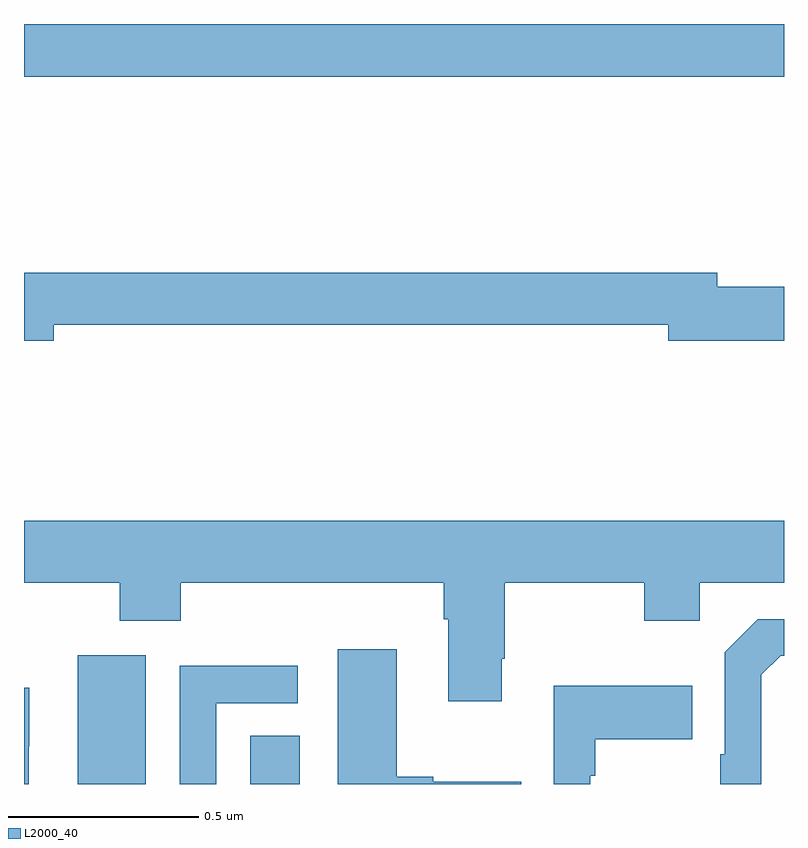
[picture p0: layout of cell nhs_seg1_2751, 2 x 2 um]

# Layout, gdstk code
import gdstk
lib = gdstk.Library(unit=1e-6, precision=1e-09)
def R(c, l, rs):  # rectangles x0, y0, x1, y1
    for r in rs: c.add(gdstk.rectangle(r[:2], r[2:], *l))
def P(c, l, *ps):  # polygons
    for p in ps: c.add(gdstk.Polygon(p, *l))
L2000_40 = (2000, 40)

nhs_seg1_2751 = lib.new_cell('nhs_seg1_2751')
R(nhs_seg1_2751, L2000_40, [(145.142,555.199,145.321,555.538), (145.595,555.199,145.726,555.326), (145,557.06,147,557.199)])
P(nhs_seg1_2751, L2000_40, [(145.078,556.408),(146.696,556.408),(146.696,556.366),(147,556.366),(147,556.508),(146.824,556.508),(146.824,556.544),(145,556.544),(145,556.366),(145.078,556.366)],
  [(146.257,555.529),(146.265,555.529),(146.265,555.728),(146.632,555.728),(146.632,555.629),(146.778,555.629),(146.778,555.728),(147,555.728),(147,555.892),(145,555.892),(145,555.728),(145.252,555.728),(145.252,555.629),(145.412,555.629),(145.412,555.728),(146.105,555.728),(146.105,555.632),(146.117,555.632),(146.117,555.417),(146.257,555.417)],
  [(146.94,555.486),(146.991,555.537),(147,555.537),(147,555.633),(146.931,555.633),(146.844,555.546),(146.844,555.277),(146.832,555.277),(146.832,555.199),(146.94,555.199)],
  [(146.308,555.205),(146.077,555.205),(146.077,555.218),(145.981,555.218),(145.981,555.553),(145.826,555.553),(145.826,555.199),(146.308,555.199)],
  [(145.506,555.411),(145.72,555.411),(145.72,555.51),(145.41,555.51),(145.41,555.199),(145.506,555.199)],
  [(146.49,555.221),(146.503,555.221),(146.503,555.317),(146.759,555.317),(146.759,555.457),(146.394,555.457),(146.394,555.199),(146.49,555.199)],
  [(145.013,555.298),(145.014,555.298),(145.014,555.452),(145,555.452),(145,555.199),(145.013,555.199)])

lib.write_gds('nhs_seg1_2751.gds')
